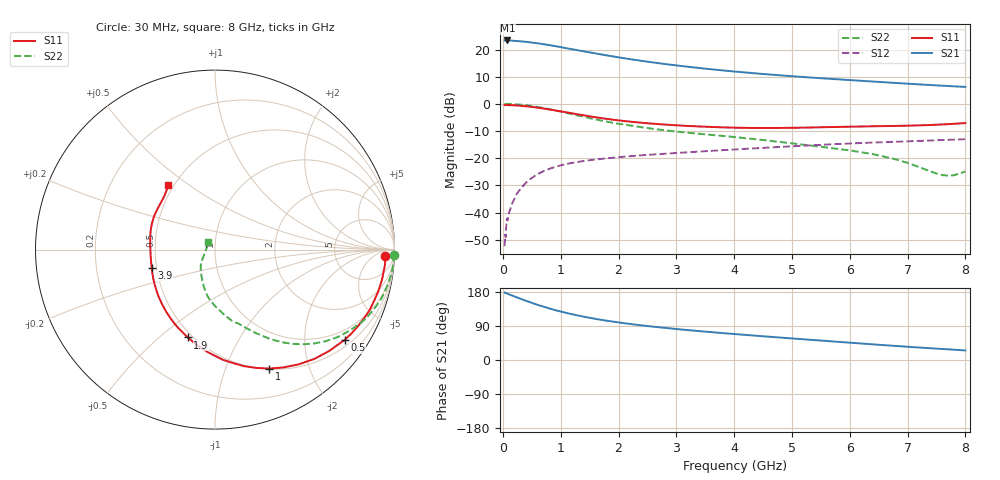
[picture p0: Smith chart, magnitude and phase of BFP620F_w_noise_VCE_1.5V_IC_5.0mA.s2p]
! Infineon Technologies  Discrete & RF Semiconductors
! BFP620F
! VCE =  1.5 V,  IC =  5.0 mA
! Common Emitter S-Parameters:  Dec 2014
# GHz  S  MA  R  50
!  f  S11  S21  S12  S22
! GHz  MAG  ANG  MAG  ANG  MAG  ANG  MAG  ANG
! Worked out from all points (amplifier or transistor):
!   95 points, 30 MHz to 8 GHz, reference 50 ohm
!   highest |S21| = 23.4 dB at 80 MHz (marker M1)
!   |S21| within 3 dB of that: start of sweep to 1.135 GHz
!   unconditionally stable (mu >= 1): 5.223 GHz to end of sweep
!   at 300 MHz: K = 0.06, MSG = 27.3 dB, |S12| = -31.5 dB
!   at 3.3 GHz: K = 0.83, MSG = 15.6 dB, |S12| = -17.7 dB
!   at 8 GHz: K = 1.12, MAG = 7.5 dB, |S12| = -13.0 dB
!   lowest NFmin = 0.52 dB at 450 MHz
!   S11 on the Smith chart (normalised r, x): 30 MHz: 26, -19; 500 MHz: 0.68, -3.04; 1 GHz: 0.51, -1.43; 1.9 GHz: 0.47, -0.63; 3.9 GHz: 0.47, -0.11; 8 GHz: 0.47, +0.42
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0.03  0.9502 -2.1  14.69 177.8  0.0024 90.4  0.9969 -1.6
0.06  0.9505 -4.3  14.69 176.3  0.0063 85.3  0.9977 -3.1
0.08  0.9497 -5.8  14.71 174.9  0.0071 89.3  0.9956 -4.3
0.25  0.9313 -17.9  14.37 164.8  0.0229 80.4  0.9759 -13.5
0.4  0.9033 -28.3  13.88 156.2  0.0352 75.4  0.9403 -21.4
0.5  0.88 -34.9  13.45 150.9  0.0434 71.2  0.9122 -26.3
0.6  0.8502 -41.7  13.05 145.6  0.0507 68.0  0.8758 -31.0
0.8  0.7902 -54.1  12.09 136.2  0.0635 61.7  0.8005 -39.6
1  0.7285 -65.5  11.09 128.0  0.0738 56.5  0.7213 -47.0
1.2  0.6692 -76.0  10.12 120.7  0.0821 52.4  0.6455 -53.4
1.4  0.6161 -85.8  9.267 114.3  0.0888 49.1  0.579 -58.8
1.7  0.5466 -99.2  8.138 106.0  0.097 45.5  0.4931 -66.0
1.9  0.5122 -107.2  7.489 101.4  0.102 43.8  0.4486 -70.5
2.3  0.4594 -121.7  6.417 93.2  0.1109 40.6  0.3858 -79.3
2.7  0.4233 -134.2  5.601 86.4  0.1188 38.6  0.3369 -86.1
3.2  0.3918 -147.8  4.824 78.9  0.1286 36.8  0.294 -93.4
3.9  0.3672 -164.0  4.041 69.8  0.1426 34.5  0.2513 -100.9
4.1  0.3632 -168.2  3.86 67.4  0.1464 33.8  0.2392 -102.8
5.4  0.369 167.3  3.019 52.4  0.1739 28.8  0.1674 -116.6
6.7  0.3912 145.9  2.463 38.1  0.1992 22.6  0.1007 -138.1
7.6  0.4183 131.3  2.163 29.1  0.216 18.6  0.0489 176.2
8  0.4435 126.0  2.052 25.2  0.2238 16.4  0.057 132.0
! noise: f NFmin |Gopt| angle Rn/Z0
0.45  0.52  0.46  9  0.28
0.9  0.59  0.43  20  0.24
1.5  0.66  0.38  26  0.22
1.8  0.7  0.36  30  0.21
1.9  0.71  0.31  42  0.23
2.4  0.77  0.28  56  0.21
3.5  0.9  0.27  77  0.16
5.5  1.12  0.18  155  0.13
6  1.17  0.14  173  0.25
